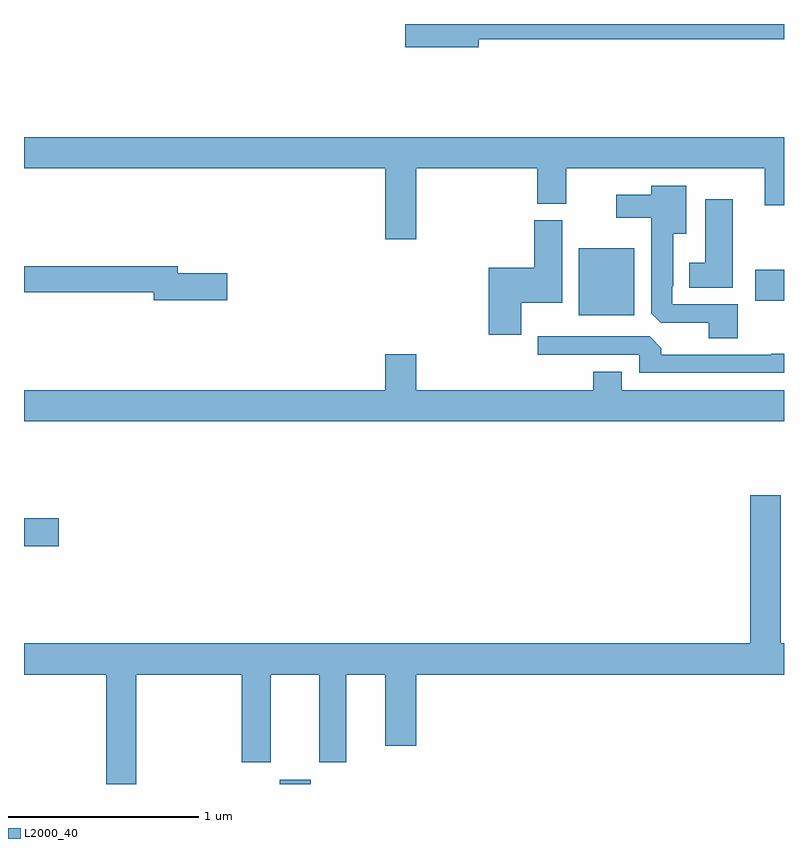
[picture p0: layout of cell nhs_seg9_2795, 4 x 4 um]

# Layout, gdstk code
import gdstk
lib = gdstk.Library(unit=1e-6, precision=1e-09)
def R(c, l, rs):  # rectangles x0, y0, x1, y1
    for r in rs: c.add(gdstk.rectangle(r[:2], r[2:], *l))
def P(c, l, *ps):  # polygons
    for p in ps: c.add(gdstk.Polygon(p, *l))
L2000_40 = (2000, 40)

nhs_seg9_2795 = lib.new_cell('nhs_seg9_2795')
R(nhs_seg9_2795, L2000_40, [(272.345,1206.5,272.509,1206.523), (271,1207.751,271.183,1207.898), (273.92,1208.966,274.213,1209.319), (274.848,1209.044,275,1209.207)])
P(nhs_seg9_2795, L2000_40, [(273.394,1210.42),(275,1210.42),(275,1210.5),(273.006,1210.5),(273.006,1210.378),(273.394,1210.378)],
  [(271,1209.74),(272.9,1209.74),(272.9,1209.366),(273.064,1209.366),(273.064,1209.74),(273.701,1209.74),(273.701,1209.553),(273.853,1209.553),(273.853,1209.74),(274.898,1209.74),(274.898,1209.546),(275,1209.546),(275,1209.904),(271,1209.904)],
  [(274.757,1209.024),(274.413,1209.024),(274.413,1209.121),(274.417,1209.121),(274.417,1209.395),(274.486,1209.395),(274.486,1209.649),(274.301,1209.649),(274.301,1209.601),(274.116,1209.601),(274.116,1209.479),(274.301,1209.479),(274.301,1208.977),(274.35,1208.928),(274.604,1208.928),(274.604,1208.845),(274.757,1208.845)],
  [(274.729,1209.577),(274.586,1209.577),(274.586,1209.244),(274.502,1209.244),(274.502,1209.113),(274.729,1209.113)],
  [(273.616,1209.032),(273.832,1209.032),(273.832,1209.468),(273.686,1209.468),(273.686,1209.217),(273.446,1209.217),(273.446,1208.865),(273.616,1208.865)],
  [(272.071,1209.188),(271.81,1209.188),(271.81,1209.224),(271,1209.224),(271,1209.088),(271.682,1209.088),(271.682,1209.046),(272.071,1209.046)],
  [(275,1208.765),(274.934,1208.765),(274.934,1208.76),(274.355,1208.76),(274.355,1208.794),(274.293,1208.856),(273.705,1208.856),(273.705,1208.76),(274.239,1208.76),(274.239,1208.664),(275,1208.664)],
  [(275,1208.572),(274.147,1208.572),(274.147,1208.671),(273.995,1208.671),(273.995,1208.572),(273.064,1208.572),(273.064,1208.761),(272.9,1208.761),(272.9,1208.572),(271,1208.572),(271,1208.408),(275,1208.408)],
  [(271.592,1207.076),(272.147,1207.076),(272.147,1206.615),(272.299,1206.615),(272.299,1207.076),(272.555,1207.076),(272.555,1206.615),(272.695,1206.615),(272.695,1207.076),(272.9,1207.076),(272.9,1206.702),(273.064,1206.702),(273.064,1207.076),(275,1207.076),(275,1207.24),(274.983,1207.24),(274.983,1208.02),(274.823,1208.02),(274.823,1207.24),(271,1207.24),(271,1207.076),(271.432,1207.076),(271.432,1206.5),(271.592,1206.5)])

lib.write_gds('nhs_seg9_2795.gds')
